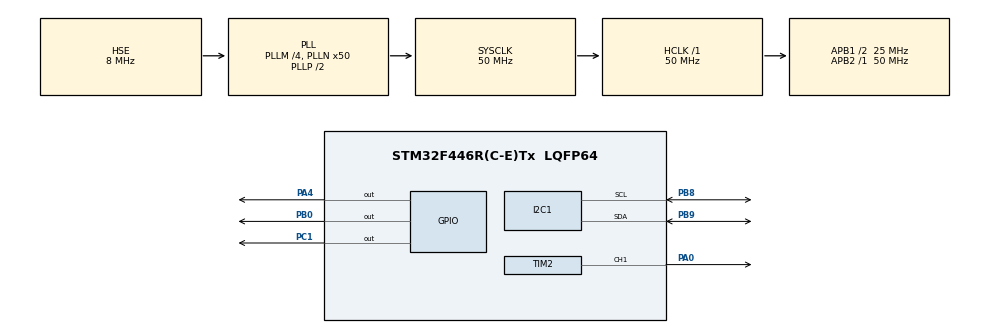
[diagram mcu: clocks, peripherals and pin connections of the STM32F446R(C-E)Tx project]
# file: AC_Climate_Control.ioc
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Mcu.Family=STM32F4
Mcu.Name=STM32F446R(C-E)Tx
Mcu.Package=LQFP64
NVIC.PriorityGroup=NVIC_PRIORITYGROUP_0
PA0-WKUP.Signal=S_TIM2_CH1_ETR
PA4.Signal=GPIO_Output
PB0.Signal=GPIO_Output
PB8.Mode=I2C
PB8.Signal=I2C1_SCL
PB9.Mode=I2C
PB9.Signal=I2C1_SDA
PC1.Signal=GPIO_Output
PH0-OSC_IN.Mode=HSE-External-Oscillator
PH0-OSC_IN.Signal=RCC_OSC_IN
PH1-OSC_OUT.Mode=HSE-External-Oscillator
PH1-OSC_OUT.Signal=RCC_OSC_OUT
ProjectManager.HeapSize=0x200
ProjectManager.StackSize=0x400
ProjectManager.TargetToolchain=STM32CubeIDE
RCC.AHBFreq_Value=50000000
RCC.APB1CLKDivider=RCC_HCLK_DIV2
RCC.APB1Freq_Value=25000000
RCC.APB1TimFreq_Value=50000000
RCC.APB2Freq_Value=50000000
RCC.APB2TimFreq_Value=50000000
RCC.CortexFreq_Value=50000000
RCC.FLatency-AdvancedSettings=FLASH_LATENCY_1
RCC.HCLKFreq_Value=50000000
RCC.HSE_VALUE=8000000
RCC.HSI_VALUE=16000000
RCC.PLLM=4
RCC.PLLN=50
RCC.PLLSourceVirtual=RCC_PLLSOURCE_HSE
RCC.SYSCLKFreq_VALUE=50000000
RCC.SYSCLKSource=RCC_SYSCLKSOURCE_PLLCLK
RCC.USBFreq_Value=50000000
RCC.VCOOutputFreq_Value=100000000
SH.S_TIM2_CH1_ETR.0=TIM2_CH1,PWM Generation1 CH1
TIM2.Channel-PWM\ Generation1\ CH1=TIM_CHANNEL_1
TIM2.Period=20000-1
TIM2.Prescaler=50-1
TIM6.Period=0xffff-1
TIM6.Prescaler=50-1
VP_TIM2_VS_ClockSourceINT.Mode=Internal
VP_TIM6_VS_ClockSourceINT.Mode=Enable_Timer
board=NUCLEO-F446RE

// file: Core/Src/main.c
/* USER CODE BEGIN Header */
/**
  ******************************************************************************
  * @file           : main.c
  * @brief          : Main program body
  ******************************************************************************
  * @attention
  *
  * Copyright (c) 2025 STMicroelectronics.
  * All rights reserved.
  *
  * This software is licensed under terms that can be found in the LICENSE file
  * in the root directory of this software component.
  * If no LICENSE file comes with this software, it is provided AS-IS.
  *
  ******************************************************************************
  */
/* USER CODE END Header */
#include "main.h"

/* USER CODE BEGIN Includes */

#include "ds18b20.h"
#include "servo.h"
#include "stdio.h"

/* USER CODE END Includes */

I2C_HandleTypeDef hi2c1;

TIM_HandleTypeDef htim2;
TIM_HandleTypeDef htim6;

void SystemClock_Config(void);
static void MX_GPIO_Init(void);
static void MX_TIM6_Init(void);
static void MX_I2C1_Init(void);
static void MX_TIM2_Init(void);

/* USER CODE BEGIN 0 */

uint8_t temp_byte1, temp_byte2;
uint16_t SUM, RH, TEMP;

float temperature = 0;
uint8_t presence = 0;
int pwmValue = 2500;

#define LOW_TH		24.0		// °C
#define HIGH_TH		26.0		// °C
#define CYCLE		300000UL	// 5 min = 300 s = 300,000 ms

typedef enum {AC_ON, AC_OFF} AC_state_t;	// Defines AC states
AC_state_t ac = AC_OFF;						// Default state at the start
uint32_t last_toggle = 0;

/* USER CODE END 0 */

int main(void)
{

  /* MCU Configuration--------------------------------------------------------*/

  /* Reset of all peripherals, Initializes the Flash interface and the Systick. */
  HAL_Init();

  /* Configure the system clock */
  SystemClock_Config();

  /* Initialize all configured peripherals */
  MX_GPIO_Init();
  MX_TIM6_Init();
  MX_I2C1_Init();
  MX_TIM2_Init();
  /* USER CODE BEGIN 2 */

  HAL_TIM_Base_Start(&htim6);
  HAL_TIM_PWM_Start(&htim2, TIM_CHANNEL_1);

  /* USER CODE END 2 */

  /* Infinite loop */
  while (1)
  {

    /* USER CODE BEGIN 3 */

	presence = DS18B20_Init();
	HAL_Delay(1);

	DS18B20_Write(0xCC);		// Skip ROM
	DS18B20_Write(0x44);		// Convert T
	HAL_Delay(800);

	presence = DS18B20_Init();
	HAL_Delay(1);
	DS18B20_Write(0xCC);		// Skip ROM
	DS18B20_Write(0xBE);		// Read Scratchpad

	temp_byte1 = DS18B20_Read();
	temp_byte2 = DS18B20_Read();
	TEMP = (temp_byte2<<8)|temp_byte1;
	temperature = (float)TEMP/16;

	uint32_t now = HAL_GetTick();	// time since boot in milliseconds

	HAL_Delay(3000);

	switch (ac) {
	case AC_OFF:
		// Check if temperature less than low threshold
		if (temperature < LOW_TH && (now - last_toggle) > CYCLE) {
			toggle_power_button();
			ac = AC_ON;
			last_toggle = now;
		}
		break;
	case AC_ON:
		// Check if temperature greater than high threshold
		if (temperature > HIGH_TH && (now - last_toggle) > CYCLE) {
			toggle_power_button();
			ac = AC_OFF;
			last_toggle = now;
		}
		break;
	}

//	__HAL_TIM_SET_COMPARE(&htim2, TIM_CHANNEL_1, 500);		// start
//	HAL_Delay(500);
//	__HAL_TIM_SET_COMPARE(&htim2, TIM_CHANNEL_1, 1500);		// middle
//	HAL_Delay(500);
//	__HAL_TIM_SET_COMPARE(&htim2, TIM_CHANNEL_1, 2500);		// end

  }
  /* USER CODE END 3 */
}

void SystemClock_Config(void)
{
  RCC_OscInitTypeDef RCC_OscInitStruct = {0};
  RCC_ClkInitTypeDef RCC_ClkInitStruct = {0};

  /** Configure the main internal regulator output voltage
  */
  __HAL_RCC_PWR_CLK_ENABLE();
  __HAL_PWR_VOLTAGESCALING_CONFIG(PWR_REGULATOR_VOLTAGE_SCALE3);

  /** Initializes the RCC Oscillators according to the specified parameters
  * in the RCC_OscInitTypeDef structure.
  */
  RCC_OscInitStruct.OscillatorType = RCC_OSCILLATORTYPE_HSE;
  RCC_OscInitStruct.HSEState = RCC_HSE_ON;
  RCC_OscInitStruct.PLL.PLLState = RCC_PLL_ON;
  RCC_OscInitStruct.PLL.PLLSource = RCC_PLLSOURCE_HSE;
  RCC_OscInitStruct.PLL.PLLM = 4;
  RCC_OscInitStruct.PLL.PLLN = 50;
  RCC_OscInitStruct.PLL.PLLP = RCC_PLLP_DIV2;
  RCC_OscInitStruct.PLL.PLLQ = 2;
  RCC_OscInitStruct.PLL.PLLR = 2;
  if (HAL_RCC_OscConfig(&RCC_OscInitStruct) != HAL_OK)
  {
    Error_Handler();
  }

  /** Initializes the CPU, AHB and APB buses clocks
  */
  RCC_ClkInitStruct.ClockType = RCC_CLOCKTYPE_HCLK|RCC_CLOCKTYPE_SYSCLK
                              |RCC_CLOCKTYPE_PCLK1|RCC_CLOCKTYPE_PCLK2;
  RCC_ClkInitStruct.SYSCLKSource = RCC_SYSCLKSOURCE_PLLCLK;
  RCC_ClkInitStruct.AHBCLKDivider = RCC_SYSCLK_DIV1;
  RCC_ClkInitStruct.APB1CLKDivider = RCC_HCLK_DIV2;
  RCC_ClkInitStruct.APB2CLKDivider = RCC_HCLK_DIV1;

  if (HAL_RCC_ClockConfig(&RCC_ClkInitStruct, FLASH_LATENCY_1) != HAL_OK)
  {
    Error_Handler();
  }
}

static void MX_I2C1_Init(void)
{

  hi2c1.Instance = I2C1;
  hi2c1.Init.ClockSpeed = 100000;
  hi2c1.Init.DutyCycle = I2C_DUTYCYCLE_2;
  hi2c1.Init.OwnAddress1 = 0;
  hi2c1.Init.AddressingMode = I2C_ADDRESSINGMODE_7BIT;
  hi2c1.Init.DualAddressMode = I2C_DUALADDRESS_DISABLE;
  hi2c1.Init.OwnAddress2 = 0;
  hi2c1.Init.GeneralCallMode = I2C_GENERALCALL_DISABLE;
  hi2c1.Init.NoStretchMode = I2C_NOSTRETCH_DISABLE;
  if (HAL_I2C_Init(&hi2c1) != HAL_OK)
  {
    Error_Handler();
  }

}

static void MX_TIM2_Init(void)
{

  TIM_ClockConfigTypeDef sClockSourceConfig = {0};
  TIM_MasterConfigTypeDef sMasterConfig = {0};
  TIM_OC_InitTypeDef sConfigOC = {0};

  htim2.Instance = TIM2;
  htim2.Init.Prescaler = 50-1;
  htim2.Init.CounterMode = TIM_COUNTERMODE_UP;
  htim2.Init.Period = 20000-1;
  htim2.Init.ClockDivision = TIM_CLOCKDIVISION_DIV1;
  htim2.Init.AutoReloadPreload = TIM_AUTORELOAD_PRELOAD_DISABLE;
  if (HAL_TIM_Base_Init(&htim2) != HAL_OK)
  {
    Error_Handler();
  }
  sClockSourceConfig.ClockSource = TIM_CLOCKSOURCE_INTERNAL;
  if (HAL_TIM_ConfigClockSource(&htim2, &sClockSourceConfig) != HAL_OK)
  {
    Error_Handler();
  }
  if (HAL_TIM_PWM_Init(&htim2) != HAL_OK)
  {
    Error_Handler();
  }
  sMasterConfig.MasterOutputTrigger = TIM_TRGO_RESET;
  sMasterConfig.MasterSlaveMode = TIM_MASTERSLAVEMODE_DISABLE;
  if (HAL_TIMEx_MasterConfigSynchronization(&htim2, &sMasterConfig) != HAL_OK)
  {
    Error_Handler();
  }
  sConfigOC.OCMode = TIM_OCMODE_PWM1;
  sConfigOC.Pulse = 0;
  sConfigOC.OCPolarity = TIM_OCPOLARITY_HIGH;
  sConfigOC.OCFastMode = TIM_OCFAST_DISABLE;
  if (HAL_TIM_PWM_ConfigChannel(&htim2, &sConfigOC, TIM_CHANNEL_1) != HAL_OK)
  {
    Error_Handler();
  }
  HAL_TIM_MspPostInit(&htim2);

}

static void MX_TIM6_Init(void)
{

  TIM_MasterConfigTypeDef sMasterConfig = {0};

  htim6.Instance = TIM6;
  htim6.Init.Prescaler = 50-1;
  htim6.Init.CounterMode = TIM_COUNTERMODE_UP;
  htim6.Init.Period = 0xffff-1;
  htim6.Init.AutoReloadPreload = TIM_AUTORELOAD_PRELOAD_DISABLE;
  if (HAL_TIM_Base_Init(&htim6) != HAL_OK)
  {
    Error_Handler();
  }
  sMasterConfig.MasterOutputTrigger = TIM_TRGO_RESET;
  sMasterConfig.MasterSlaveMode = TIM_MASTERSLAVEMODE_DISABLE;
  if (HAL_TIMEx_MasterConfigSynchronization(&htim6, &sMasterConfig) != HAL_OK)
  {
    Error_Handler();
  }

}

static void MX_GPIO_Init(void)
{
  GPIO_InitTypeDef GPIO_InitStruct = {0};

  /* GPIO Ports Clock Enable */
  __HAL_RCC_GPIOH_CLK_ENABLE();
  __HAL_RCC_GPIOC_CLK_ENABLE();
  __HAL_RCC_GPIOA_CLK_ENABLE();
  __HAL_RCC_GPIOB_CLK_ENABLE();

  /*Configure GPIO pin Output Level */
  HAL_GPIO_WritePin(GPIOC, GPIO_PIN_1, GPIO_PIN_RESET);

  /*Configure GPIO pin Output Level */
  HAL_GPIO_WritePin(GPIOA, GPIO_PIN_4, GPIO_PIN_RESET);

  /*Configure GPIO pin Output Level */
  HAL_GPIO_WritePin(GPIOB, GPIO_PIN_0, GPIO_PIN_RESET);

  /*Configure GPIO pin : PC1 */
  GPIO_InitStruct.Pin = GPIO_PIN_1;
  GPIO_InitStruct.Mode = GPIO_MODE_OUTPUT_PP;
  GPIO_InitStruct.Pull = GPIO_NOPULL;
  GPIO_InitStruct.Speed = GPIO_SPEED_FREQ_LOW;
  HAL_GPIO_Init(GPIOC, &GPIO_InitStruct);

  /*Configure GPIO pin : PA4 */
  GPIO_InitStruct.Pin = GPIO_PIN_4;
  GPIO_InitStruct.Mode = GPIO_MODE_OUTPUT_PP;
  GPIO_InitStruct.Pull = GPIO_NOPULL;
  GPIO_InitStruct.Speed = GPIO_SPEED_FREQ_LOW;
  HAL_GPIO_Init(GPIOA, &GPIO_InitStruct);

  /*Configure GPIO pin : PB0 */
  GPIO_InitStruct.Pin = GPIO_PIN_0;
  GPIO_InitStruct.Mode = GPIO_MODE_OUTPUT_PP;
  GPIO_InitStruct.Pull = GPIO_NOPULL;
  GPIO_InitStruct.Speed = GPIO_SPEED_FREQ_LOW;
  HAL_GPIO_Init(GPIOB, &GPIO_InitStruct);

}

void Error_Handler(void)
{
  __disable_irq();
  while (1)
  {
  }
}
